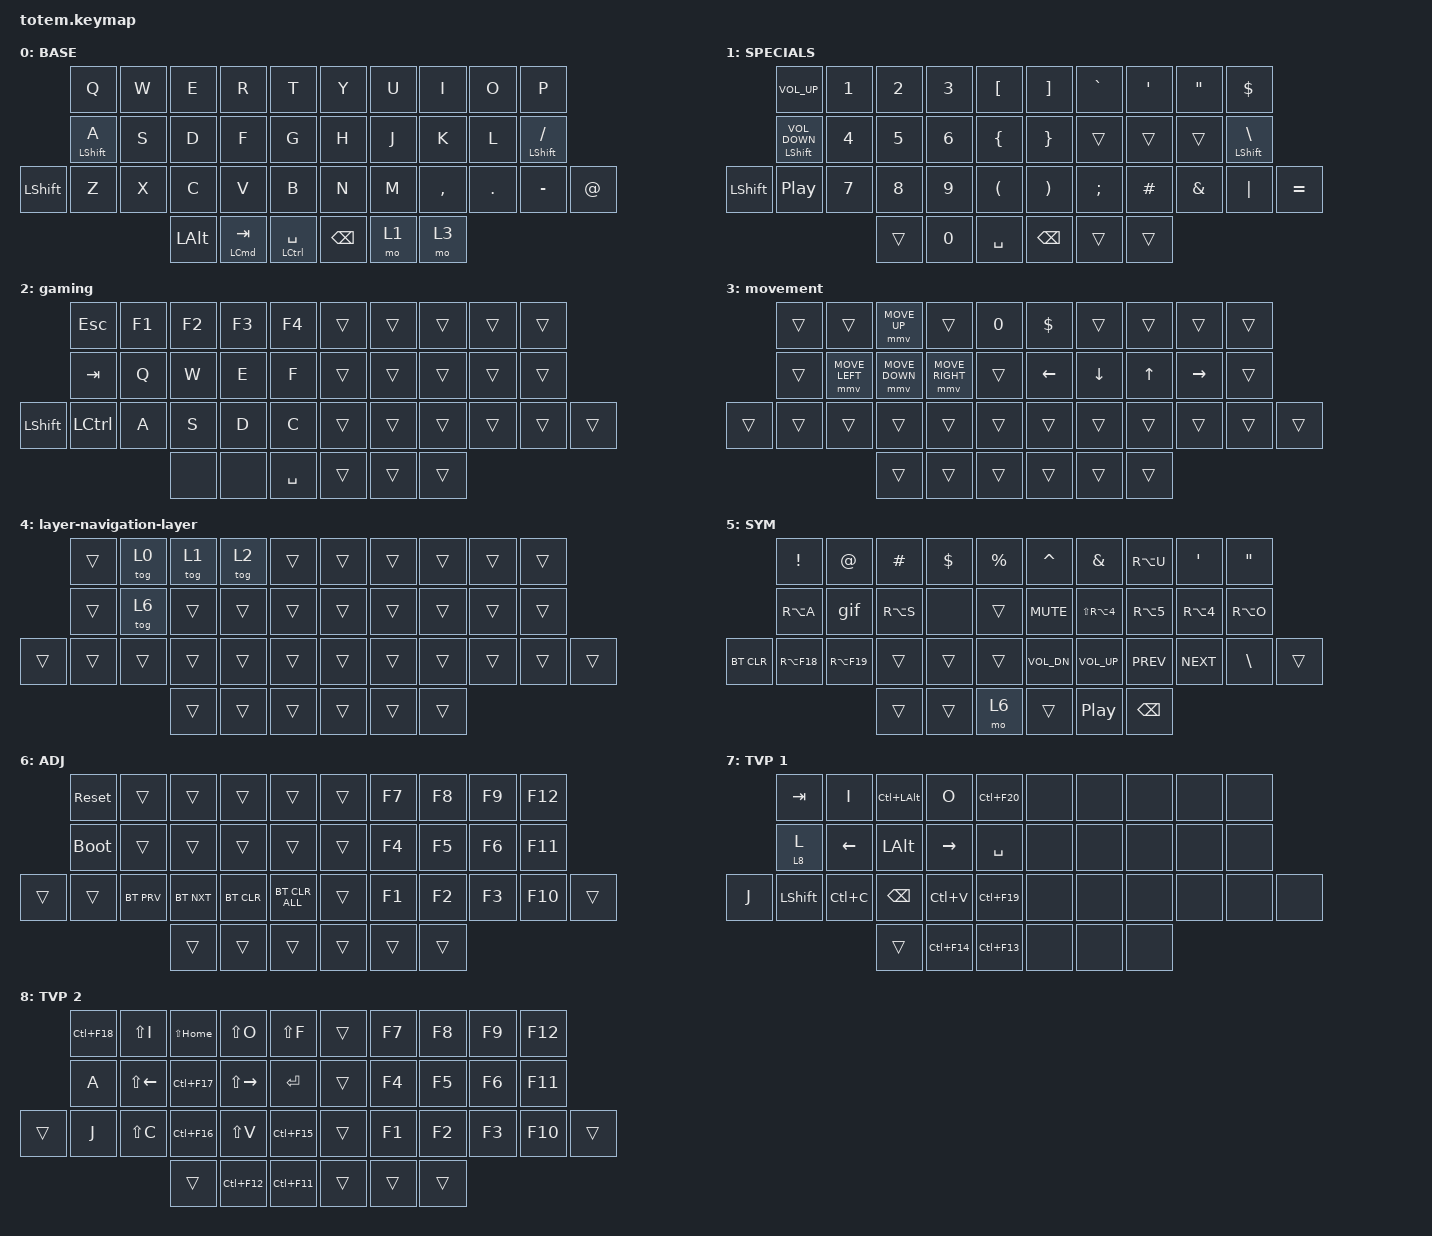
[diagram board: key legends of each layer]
//
//                                                        ▀▀▀▀▀     ▀▀▀▀▀          ▀▀█▀▀
//                                                        ▄▀▀▀▄  ▄  ▄▀▀▀▄  ▄  ▄▀▀▀▄  █  ▄▀▀▀▄
//                                                        █   █  █  █   █  █  █   █  █  █   █
//                                                         ▀▀▀   █   ▀▀▀   █   ▀▀▀   ▀   ▀▀▀
//                                                               █      ▄▄▄█▄▄▄    █   █  
//                                                               ▀      █  █  █     █▄█
//                                                             ▀▀▀▀▀    █  █  █      ▀
//                                                                      ▀  ▀  ▀
//
// ▄▄▄▄▄▄▄▄▄▄▄▄▄▄▄▄▄▄▄▄▄▄▄▄▄▄▄▄▄▄▄▄▄▄▄▄▄▄▄▄▄▄▄▄▄▄▄▄▄▄▄▄▄▄▄▄▄▄▄▄▄▄▄▄▄▄▄▄▄▄▄▄▄▄▄▄▄▄▄▄▄▄▄▄▄▄▄▄▄▄▄▄▄▄▄▄▄▄▄▄▄▄▄▄▄▄▄▄▄▄▄▄▄▄▄▄▄▄▄▄▄▄▄▄▄▄▄▄▄▄▄▄▄▄▄▄▄▄▄▄▄▄▄▄▄▄▄▄▄

#include <behaviors.dtsi>
#include <dt-bindings/zmk/bt.h>
#include <dt-bindings/zmk/keys.h>
#include <dt-bindings/zmk/pointing.h>

#define BASE 0
#define NAV  1
#define SYM  2
#define ADJ  3
#define TVP1 4
#define TVP2 5

&mt {
    quick-tap-ms = <100>;
    global-quick-tap;
    flavor = "tap-preferred";
    tapping-term-ms = <170>;
};

/ {
    combos {
        compatible = "zmk,combos";

        combo_esc {
            timeout-ms = <50>;
            key-positions = <0 1>;
            bindings = <&kp ESC>;
        };

        layer-0-toggle {
            timeout-ms = <100>;
            key-positions = <11 12 13>;
            bindings = <&tog 0>;
        };

        enter-combo {
            bindings = <&kp ENTER>;
            key-positions = <8 9>;
        };

        layer-selection-layer {
            bindings = <&tog 4>;
            key-positions = <32 33 34 35 36 37>;
        };

        backspace {
            bindings = <&kp BACKSPACE>;
            key-positions = <16 17>;
        };

        cps {
            bindings = <&kp CAPSLOCK>;
            key-positions = <12 13>;
        };
    };

    macros {
        gif: gif {
            label = "giphy";
            compatible = "zmk,behavior-macro";
            #binding-cells = <0>;
            bindings =
                <&macro_press>,
                <&kp LSHFT>,
                <&macro_tap>,
                <&kp N2>,
                <&macro_release>,
                <&kp LSHFT>,
                <&macro_tap>,
                <&kp G &kp I &kp F>;
        };
    };

    keymap {
        compatible = "zmk,keymap";

        // ▄▄▄▄▄▄▄▄▄▄▄▄▄▄▄▄▄▄▄▄▄▄▄▄▄▄▄▄▄▄▄▄▄▄▄▄▄▄▄▄▄▄▄▄▄▄▄▄▄▄▄▄▄▄▄▄▄▄▄▄▄▄▄▄▄▄▄▄▄▄▄▄▄▄▄▄▄▄▄▄▄▄▄▄▄▄▄▄▄▄▄▄▄▄▄▄▄▄▄▄▄▄▄▄▄▄▄▄▄▄▄▄▄▄▄▄▄▄▄▄▄▄▄▄▄▄▄▄▄▄▄▄▄▄▄▄▄▄▄▄▄▄▄▄▄▄▄▄▄

        base_layer {
            // ┏━━━━━━━━━━━━━━━━━━━━━━━━━━━━━━━━━━━━━━━┓

            label = "BASE";

            // ┗━━━━━━━━━━━━━━━━━━━━━━━━━━━━━━━━━━━━━━━┛
            //             ┏━━━━━━━━━━━┳━━━━━━━━━━━┳━━━━━━━━━━━┳━━━━━━━━━━━┳━━━━━━━━━━━┓   ┏━━━━━━━━━━━┳━━━━━━━━━━━┳━━━━━━━━━━━┳━━━━━━━━━━━┳━━━━━━━━━━━┓
            //             ┃     Q     ┃     W     ┃     F     ┃     P     ┃     G     ┃   ┃     J     ┃     L     ┃     U     ┃     Y     ┃     ;     ┃
            //             ┣━━━━━━━━━━━╋━━━━━━━━━━━╋━━━━━━━━━━━╋━━━━━━━━━━━╋━━━━━━━━━━━┫   ┣━━━━━━━━━━━╋━━━━━━━━━━━╋━━━━━━━━━━━╋━━━━━━━━━━━╋━━━━━━━━━━━┫
            //             ┃     A     ┃     R     ┃     S     ┃     T     ┃     D     ┃   ┃     H     ┃     N     ┃     E     ┃     I     ┃     O     ┃
            // ┏━━━━━━━━━━━╋━━━━━━━━━━━╋━━━━━━━━━━━╋━━━━━━━━━━━╋━━━━━━━━━━━╋━━━━━━━━━━━┫   ┣━━━━━━━━━━━╋━━━━━━━━━━━╋━━━━━━━━━━━╋━━━━━━━━━━━╋━━━━━━━━━━━╋━━━━━━━━━━━┓
            // ┃     Q     ┃     Z     ┃     X     ┃     C     ┃     V     ┃     B     ┃   ┃     K     ┃     M     ┃     ,     ┃     .     ┃     /     ┃     \     ┃
            // ┗━━━━━━━━━━━┻━━━━━━━━━━━┻━━━━━━━━━━━╋━━━━━━━━━━━╋━━━━━━━━━━━╋━━━━━━━━━━━┫   ┣━━━━━━━━━━━╋━━━━━━━━━━━╋━━━━━━━━━━━╋━━━━━━━━━━━┻━━━━━━━━━━━┻━━━━━━━━━━━┛
            //                                     ┃    DEL    ┃    TAB    ┃    SPC    ┃   ┃   ENTER   ┃           ┃   BSPC    ┃
            //                                     ┗━━━━━━━━━━━┻━━━━━━━━━━━┻━━━━━━━━━━━┛   ┗━━━━━━━━━━━┻━━━━━━━━━━━┻━━━━━━━━━━━┛

            bindings = <
                &kp Q             &kp W  &kp E         &kp R                 &kp T              &kp Y          &kp U  &kp I      &kp O    &kp P
                &mt LEFT_SHIFT A  &kp S  &kp D         &kp F                 &kp G              &kp H          &kp J  &kp K      &kp L    &mt LEFT_SHIFT SLASH
&kp LEFT_SHIFT  &kp Z             &kp X  &kp C         &kp V                 &kp B              &kp N          &kp M  &kp COMMA  &kp DOT  &kp MINUS             &kp AT_SIGN
                                         &kp LEFT_ALT  &mt LEFT_COMMAND TAB  &mt LCTRL SPACE    &kp BACKSPACE  &mo 1  &mo 3
            >;
        };

        Specials {
            // ┏━━━━━━━━━━━━━━━━━━━━━━━━━━━━━━━━━━━━━━━┓

            label = "SPECIALS";

            // ┗━━━━━━━━━━━━━━━━━━━━━━━━━━━━━━━━━━━━━━━┛
            //             ┏━━━━━━━━━━━┳━━━━━━━━━━━┳━━━━━━━━━━━┳━━━━━━━━━━━┳━━━━━━━━━━━┓   ┏━━━━━━━━━━━┳━━━━━━━━━━━┳━━━━━━━━━━━┳━━━━━━━━━━━┳━━━━━━━━━━━┓
            //             ┃           ┃           ┃     UP    ┃           ┃     {     ┃   ┃     }     ┃     7     ┃     8     ┃     9     ┃     +     ┃
            //             ┣━━━━━━━━━━━╋━━━━━━━━━━━╋━━━━━━━━━━━╋━━━━━━━━━━━╋━━━━━━━━━━━┫   ┣━━━━━━━━━━━╋━━━━━━━━━━━╋━━━━━━━━━━━╋━━━━━━━━━━━╋━━━━━━━━━━━┫
            //             ┃   SHIFT   ┃   LEFT    ┃    DOWN   ┃   RIGHT   ┃     [     ┃   ┃     ]     ┃     4     ┃     5     ┃     6     ┃     -     ┃
            // ┏━━━━━━━━━━━╋━━━━━━━━━━━╋━━━━━━━━━━━╋━━━━━━━━━━━╋━━━━━━━━━━━╋━━━━━━━━━━━┫   ┣━━━━━━━━━━━╋━━━━━━━━━━━╋━━━━━━━━━━━╋━━━━━━━━━━━╋━━━━━━━━━━━╋━━━━━━━━━━━┓
            // ┃           ┃           ┃   P UP    ┃  C LOCK   ┃  P DOWN   ┃     (     ┃   ┃     )     ┃     1     ┃     2     ┃     3     ┃     *     ┃           ┃
            // ┗━━━━━━━━━━━┻━━━━━━━━━━━┻━━━━━━━━━━━╋━━━━━━━━━━━╋━━━━━━━━━━━╋━━━━━━━━━━━┫   ┣━━━━━━━━━━━╋━━━━━━━━━━━╋━━━━━━━━━━━╋━━━━━━━━━━━┻━━━━━━━━━━━┻━━━━━━━━━━━┛
            //                                     ┃           ┃    TAB    ┃    SPC    ┃   ┃    DEL    ┃     0     ┃           ┃
            //                                     ┗━━━━━━━━━━━┻━━━━━━━━━━━┻━━━━━━━━━━━┛   ┗━━━━━━━━━━━┻━━━━━━━━━━━┻━━━━━━━━━━━┛

            bindings = <
                &kp C_VOLUME_UP               &kp NUMBER_1  &kp NUMBER_2  &kp NUMBER_3  &kp LEFT_BRACKET        &kp RIGHT_BRACKET  &kp GRAVE  &kp SQT   &kp DOUBLE_QUOTES  &kp DOLLAR
                &mt LEFT_SHIFT K_VOLUME_DOWN  &kp NUMBER_4  &kp NUMBER_5  &kp NUMBER_6  &kp LBRC                &kp RIGHT_BRACE    &trans     &trans    &trans             &mt LEFT_SHIFT BACKSLASH
&kp LEFT_SHIFT  &kp C_PP                      &kp NUMBER_7  &kp NUMBER_8  &kp NUMBER_9  &kp LEFT_PARENTHESIS    &kp RPAR           &kp SEMI   &kp HASH  &kp AMPERSAND      &kp PIPE                  &kp EQUAL
                                                            &trans        &kp NUMBER_0  &kp SPACE               &kp BACKSPACE      &trans     &trans
            >;
        };

        gaming {
            bindings = <
                &kp ESCAPE        &kp F1  &kp F2  &kp F3  &kp F4       &trans  &trans  &trans  &trans  &trans
                &kp TAB           &kp Q   &kp W   &kp E   &kp F        &trans  &trans  &trans  &trans  &trans
&kp LEFT_SHIFT  &kp LEFT_CONTROL  &kp A   &kp S   &kp D   &kp C        &trans  &trans  &trans  &trans  &trans  &trans
                                          &none   &none   &kp SPACE    &trans  &trans  &trans
            >;
        };

        movement {
            bindings = <
        &trans  &trans          &mmv MOVE_UP    &trans           &kp N0    &kp DOLLAR  &trans          &trans        &trans     &trans
        &trans  &mmv MOVE_LEFT  &mmv MOVE_DOWN  &mmv MOVE_RIGHT  &trans    &kp LEFT    &kp DOWN_ARROW  &kp UP_ARROW  &kp RIGHT  &trans
&trans  &trans  &trans          &trans          &trans           &trans    &trans      &trans          &trans        &trans     &trans  &trans
                                &trans          &trans           &trans    &trans      &trans          &trans
            >;
        };

        layer-navigation-layer {
            bindings = <
        &trans  &tog 0  &tog 1  &tog 2  &trans    &trans  &trans  &trans  &trans  &trans
        &trans  &tog 6  &trans  &trans  &trans    &trans  &trans  &trans  &trans  &trans
&trans  &trans  &trans  &trans  &trans  &trans    &trans  &trans  &trans  &trans  &trans  &trans
                        &trans  &trans  &trans    &trans  &trans  &trans
            >;
        };

        sim_layer {
            // ┏━━━━━━━━━━━━━━━━━━━━━━━━━━━━━━━━━━━━━━━┓

            label = "SYM";

            // ┗━━━━━━━━━━━━━━━━━━━━━━━━━━━━━━━━━━━━━━━┛
            //             ┏━━━━━━━━━━━┳━━━━━━━━━━━┳━━━━━━━━━━━┳━━━━━━━━━━━┳━━━━━━━━━━━┓   ┏━━━━━━━━━━━┳━━━━━━━━━━━┳━━━━━━━━━━━┳━━━━━━━━━━━┳━━━━━━━━━━━┓
            //             ┃     !     ┃     @     ┃     #     ┃     $     ┃     %     ┃   ┃     ˆ     ┃     &     ┃     Ü     ┃     '     ┃     "     ┃
            //             ┣━━━━━━━━━━━╋━━━━━━━━━━━╋━━━━━━━━━━━╋━━━━━━━━━━━╋━━━━━━━━━━━┫   ┣━━━━━━━━━━━╋━━━━━━━━━━━╋━━━━━━━━━━━╋━━━━━━━━━━━╋━━━━━━━━━━━┫
            //             ┃     Ä     ┃           ┃    SZ     ┃           ┃           ┃   ┃   MUTE    ┃   YEN     ┃   EURO    ┃  POUND    ┃     Ö     ┃
            // ┏━━━━━━━━━━━╋━━━━━━━━━━━╋━━━━━━━━━━━╋━━━━━━━━━━━╋━━━━━━━━━━━╋━━━━━━━━━━━┫   ┣━━━━━━━━━━━╋━━━━━━━━━━━╋━━━━━━━━━━━╋━━━━━━━━━━━╋━━━━━━━━━━━╋━━━━━━━━━━━┓
            // ┃           ┃  EMAIL1   ┃  EMAIL2   ┃           ┃           ┃           ┃   ┃   VOL-    ┃   VOL+    ┃   LAST    ┃   NEXT    ┃     \     ┃           ┃
            // ┗━━━━━━━━━━━┻━━━━━━━━━━━┻━━━━━━━━━━━╋━━━━━━━━━━━╋━━━━━━━━━━━╋━━━━━━━━━━━┫   ┣━━━━━━━━━━━╋━━━━━━━━━━━╋━━━━━━━━━━━╋━━━━━━━━━━━┻━━━━━━━━━━━┻━━━━━━━━━━━┛
            //                                     ┃           ┃    GIF    ┃    ADJ    ┃   ┃           ┃           ┃           ┃
            //                                     ┗━━━━━━━━━━━┻━━━━━━━━━━━┻━━━━━━━━━━━┛   ┗━━━━━━━━━━━┻━━━━━━━━━━━┻━━━━━━━━━━━┛

            bindings = <
            &kp EXCL     &kp AT       &kp HASH   &kp DLLR  &kp PRCNT    &kp CARET     &kp AMPS        &kp RA(U)      &kp SQT     &kp DQT
            &kp RA(A)    &gif         &kp RA(S)  &none     &trans       &kp C_MUTE    &kp LS(RA(N4))  &kp RA(N5)     &kp RA(N4)  &kp RA(O)
&bt BT_CLR  &kp RA(F18)  &kp RA(F19)  &trans     &trans    &trans       &kp C_VOL_DN  &kp C_VOL_UP    &kp C_PREV     &kp C_NEXT  &kp BSLH   &trans
                                      &trans     &trans    &mo 6        &trans        &kp C_PP        &kp BACKSPACE
            >;
        };

        adjust_layer {
            // ┏━━━━━━━━━━━━━━━━━━━━━━━━━━━━━━━━━━━━━━━┓

            label = "ADJ";

            // ┗━━━━━━━━━━━━━━━━━━━━━━━━━━━━━━━━━━━━━━━┛
            //             ┏━━━━━━━━━━━┳━━━━━━━━━━━┳━━━━━━━━━━━┳━━━━━━━━━━━┳━━━━━━━━━━━┓   ┏━━━━━━━━━━━┳━━━━━━━━━━━┳━━━━━━━━━━━┳━━━━━━━━━━━┳━━━━━━━━━━━┓
            //             ┃   RESET   ┃ BT CLEAR  ┃  OUT TOG  ┃           ┃           ┃   ┃           ┃    F7     ┃    F8     ┃    F9     ┃    F12    ┃
            //             ┣━━━━━━━━━━━╋━━━━━━━━━━━╋━━━━━━━━━━━╋━━━━━━━━━━━╋━━━━━━━━━━━┫   ┣━━━━━━━━━━━╋━━━━━━━━━━━╋━━━━━━━━━━━╋━━━━━━━━━━━╋━━━━━━━━━━━┫
            //             ┃ BOOTLOAD  ┃ BT NEXT   ┃           ┃           ┃           ┃   ┃           ┃    F4     ┃    F5     ┃    F6     ┃    F11    ┃
            // ┏━━━━━━━━━━━╋━━━━━━━━━━━╋━━━━━━━━━━━╋━━━━━━━━━━━╋━━━━━━━━━━━╋━━━━━━━━━━━┫   ┣━━━━━━━━━━━╋━━━━━━━━━━━╋━━━━━━━━━━━╋━━━━━━━━━━━╋━━━━━━━━━━━╋━━━━━━━━━━━┓
            // ┃           ┃           ┃ BT PREV   ┃           ┃           ┃           ┃   ┃           ┃    F1     ┃    F2     ┃    F3     ┃    F10    ┃           ┃
            // ┗━━━━━━━━━━━┻━━━━━━━━━━━┻━━━━━━━━━━━╋━━━━━━━━━━━╋━━━━━━━━━━━╋━━━━━━━━━━━┫   ┣━━━━━━━━━━━╋━━━━━━━━━━━╋━━━━━━━━━━━╋━━━━━━━━━━━┻━━━━━━━━━━━┻━━━━━━━━━━━┛
            //                                     ┃           ┃           ┃           ┃   ┃           ┃           ┃           ┃
            //                                     ┗━━━━━━━━━━━┻━━━━━━━━━━━┻━━━━━━━━━━━┛   ┗━━━━━━━━━━━┻━━━━━━━━━━━┻━━━━━━━━━━━┛

            bindings = <
        &sys_reset   &trans      &trans      &trans      &trans            &trans  &kp F7  &kp F8  &kp F9  &kp F12
        &bootloader  &trans      &trans      &trans      &trans            &trans  &kp F4  &kp F5  &kp F6  &kp F11
&trans  &trans       &bt BT_PRV  &bt BT_NXT  &bt BT_CLR  &bt BT_CLR_ALL    &trans  &kp F1  &kp F2  &kp F3  &kp F10  &trans
                                 &trans      &trans      &trans            &trans  &trans  &trans
            >;
        };

        tvp1_layer {
            // ┏━━━━━━━━━━━━━━━━━━━━━━━━━━━━━━━━━━━━━━━┓

            label = "TVP 1";

            // ┗━━━━━━━━━━━━━━━━━━━━━━━━━━━━━━━━━━━━━━━┛
            //             ┏━━━━━━━━━━━┳━━━━━━━━━━━┳━━━━━━━━━━━┳━━━━━━━━━━━┳━━━━━━━━━━━┓   ┏━━━━━━━━━━━┳━━━━━━━━━━━┳━━━━━━━━━━━┳━━━━━━━━━━━┳━━━━━━━━━━━┓
            //             ┃ NEXT FILE ┃ MARK IN   ┃ ROTATE    ┃ MARK OUT  ┃ SHOW SNAP ┃   ┃           ┃           ┃           ┃           ┃           ┃
            //             ┣━━━━━━━━━━━╋━━━━━━━━━━━╋━━━━━━━━━━━╋━━━━━━━━━━━╋━━━━━━━━━━━┫   ┣━━━━━━━━━━━╋━━━━━━━━━━━╋━━━━━━━━━━━╋━━━━━━━━━━━╋━━━━━━━━━━━┫
            //             ┃ TVP II    ┃ LEFT      ┃ PAN       ┃ RIGHT     ┃ PLAY/FLIP ┃   ┃           ┃           ┃           ┃           ┃           ┃
            // ┏━━━━━━━━━━━╋━━━━━━━━━━━╋━━━━━━━━━━━╋━━━━━━━━━━━╋━━━━━━━━━━━╋━━━━━━━━━━━┫   ┣━━━━━━━━━━━╋━━━━━━━━━━━╋━━━━━━━━━━━╋━━━━━━━━━━━╋━━━━━━━━━━━╋━━━━━━━━━━━┓
            // ┃ FULLSCR   ┃ SHIFT     ┃ COPY      ┃ DELETE    ┃ PASTE     ┃ IMG MARK  ┃   ┃           ┃           ┃           ┃           ┃           ┃           ┃
            // ┗━━━━━━━━━━━┻━━━━━━━━━━━┻━━━━━━━━━━━╋━━━━━━━━━━━╋━━━━━━━━━━━╋━━━━━━━━━━━┫   ┣━━━━━━━━━━━╋━━━━━━━━━━━╋━━━━━━━━━━━╋━━━━━━━━━━━┻━━━━━━━━━━━┻━━━━━━━━━━━┛
            //                                     ┃           ┃ UNDO/SAVE ┃  SEL/MOV  ┃   ┃           ┃           ┃           ┃
            //                                     ┗━━━━━━━━━━━┻━━━━━━━━━━━┻━━━━━━━━━━━┛   ┗━━━━━━━━━━━┻━━━━━━━━━━━┻━━━━━━━━━━━┛

            bindings = <
       &kp TAB    &kp I      &kp LC(LALT)  &kp O        &kp LC(F20)    &none  &none  &none  &none  &none
       &lt 8 L    &kp LEFT   &kp LALT      &kp RIGHT    &kp SPACE      &none  &none  &none  &none  &none
&kp J  &kp LSHFT  &kp LC(C)  &kp BSPC      &kp LC(V)    &kp LC(F19)    &none  &none  &none  &none  &none  &none
                             &trans        &kp LC(F14)  &kp LC(F13)    &none  &none  &none
            >;
        };

        tvp2_layer {
            // ┏━━━━━━━━━━━━━━━━━━━━━━━━━━━━━━━━━━━━━━━┓

            label = "TVP 2";

            // ┗━━━━━━━━━━━━━━━━━━━━━━━━━━━━━━━━━━━━━━━┛
            //             ┏━━━━━━━━━━━┳━━━━━━━━━━━┳━━━━━━━━━━━┳━━━━━━━━━━━┳━━━━━━━━━━━┓   ┏━━━━━━━━━━━┳━━━━━━━━━━━┳━━━━━━━━━━━┳━━━━━━━━━━━┳━━━━━━━━━━━┓
            //             ┃ SOLO      ┃ TOGGLE IN ┃ RESET ROT ┃ TOGGLE OUT┃ TAKE SNAP ┃   ┃           ┃           ┃           ┃           ┃           ┃
            //             ┣━━━━━━━━━━━╋━━━━━━━━━━━╋━━━━━━━━━━━╋━━━━━━━━━━━╋━━━━━━━━━━━┫   ┣━━━━━━━━━━━╋━━━━━━━━━━━╋━━━━━━━━━━━╋━━━━━━━━━━━╋━━━━━━━━━━━┫
            //             ┃ ---       ┃ LAST KEY  ┃ NEW KEY   ┃ NEXT KEY  ┃ ENTER     ┃   ┃           ┃           ┃           ┃           ┃           ┃
            // ┏━━━━━━━━━━━╋━━━━━━━━━━━╋━━━━━━━━━━━╋━━━━━━━━━━━╋━━━━━━━━━━━╋━━━━━━━━━━━┫   ┣━━━━━━━━━━━╋━━━━━━━━━━━╋━━━━━━━━━━━╋━━━━━━━━━━━╋━━━━━━━━━━━╋━━━━━━━━━━━┓
            // ┃           ┃ FULLSCR   ┃ CPY2BRUSH ┃ DEL HEAD  ┃ PSTinPLACE┃ BOOK MARK ┃   ┃           ┃           ┃           ┃           ┃           ┃           ┃
            // ┗━━━━━━━━━━━┻━━━━━━━━━━━┻━━━━━━━━━━━╋━━━━━━━━━━━╋━━━━━━━━━━━╋━━━━━━━━━━━┫   ┣━━━━━━━━━━━╋━━━━━━━━━━━╋━━━━━━━━━━━╋━━━━━━━━━━━┻━━━━━━━━━━━┻━━━━━━━━━━━┛
            //                                     ┃           ┃ REDO/SAV1 ┃TRANS/WARP ┃   ┃           ┃           ┃           ┃
            //                                     ┗━━━━━━━━━━━┻━━━━━━━━━━━┻━━━━━━━━━━━┛   ┗━━━━━━━━━━━┻━━━━━━━━━━━┻━━━━━━━━━━━┛

            bindings = <
        &kp LC(F18)  &kp LS(I)     &kp LS(HOME)  &kp LS(O)      &kp LS(F)      &trans  &kp F7  &kp F8  &kp F9  &kp F12
        &kp A        &kp LS(LEFT)  &kp LC(F17)   &kp LS(RIGHT)  &kp RET        &trans  &kp F4  &kp F5  &kp F6  &kp F11
&trans  &kp J        &kp LS(C)     &kp LC(F16)   &kp LS(V)      &kp LC(F15)    &trans  &kp F1  &kp F2  &kp F3  &kp F10  &trans
                                   &trans        &kp LC(F12)    &kp LC(F11)    &trans  &trans  &trans
            >;
        };
    };
};
